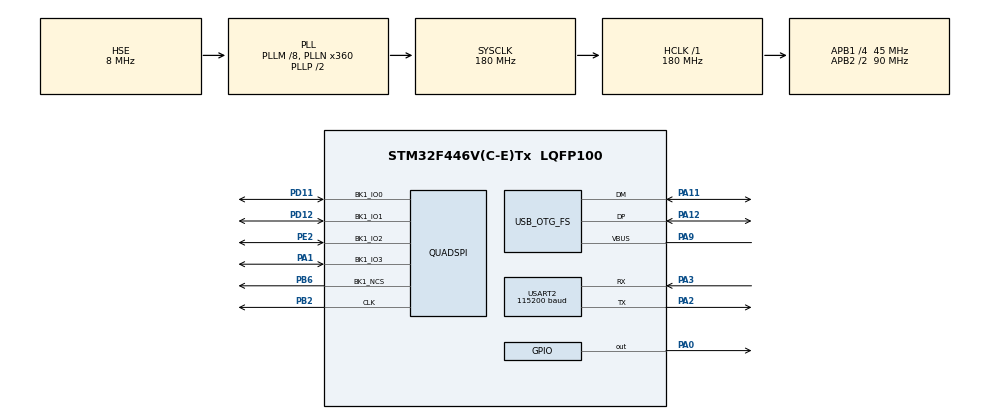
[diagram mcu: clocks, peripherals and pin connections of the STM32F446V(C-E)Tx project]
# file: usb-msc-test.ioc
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Dma.QUADSPI.0.Direction=DMA_PERIPH_TO_MEMORY
Dma.QUADSPI.0.FIFOMode=DMA_FIFOMODE_DISABLE
Dma.QUADSPI.0.Instance=DMA2_Stream7
Dma.QUADSPI.0.MemDataAlignment=DMA_MDATAALIGN_BYTE
Dma.QUADSPI.0.MemInc=DMA_MINC_ENABLE
Dma.QUADSPI.0.Mode=DMA_NORMAL
Dma.QUADSPI.0.PeriphDataAlignment=DMA_PDATAALIGN_BYTE
Dma.QUADSPI.0.PeriphInc=DMA_PINC_DISABLE
Dma.QUADSPI.0.Priority=DMA_PRIORITY_LOW
Dma.Request0=QUADSPI
Mcu.Family=STM32F4
Mcu.Name=STM32F446V(C-E)Tx
Mcu.Package=LQFP100
NVIC.DMA2_Stream7_IRQn=true\:6\:0\:true\:false\:true\:false\:true
NVIC.OTG_FS_IRQn=true\:7\:0\:true\:false\:true\:false\:true
NVIC.PriorityGroup=NVIC_PRIORITYGROUP_4
NVIC.QUADSPI_IRQn=true\:6\:0\:true\:false\:true\:true\:true
NVIC.TIM1_BRK_TIM9_IRQn=true\:6\:0\:true\:false\:true\:true\:true
NVIC.TIM1_CC_IRQn=true\:6\:0\:true\:false\:true\:true\:true
NVIC.TIM1_TRG_COM_TIM11_IRQn=true\:6\:0\:true\:false\:true\:true\:true
NVIC.TIM1_UP_TIM10_IRQn=true\:6\:0\:true\:false\:true\:true\:true
NVIC.TIM4_IRQn=true\:6\:0\:true\:false\:true\:true\:true
NVIC.TIM5_IRQn=true\:6\:0\:true\:false\:true\:true\:true
NVIC.TIM8_BRK_TIM12_IRQn=true\:6\:0\:true\:false\:true\:true\:true
NVIC.TIM8_CC_IRQn=true\:6\:0\:true\:false\:true\:true\:true
NVIC.TIM8_TRG_COM_TIM14_IRQn=true\:6\:0\:true\:false\:true\:true\:true
NVIC.TIM8_UP_TIM13_IRQn=true\:0\:0\:true\:false\:true\:false\:true
NVIC.TimeBase=TIM8_UP_TIM13_IRQn
NVIC.TimeBaseIP=TIM13
NVIC.USART2_IRQn=true\:5\:0\:true\:false\:true\:true\:true
PA0-WKUP.Signal=GPIO_Output
PA1.Mode=Single Bank 1
PA1.Signal=QUADSPI_BK1_IO3
PA11.Mode=Device_Only
PA11.Signal=USB_OTG_FS_DM
PA12.Mode=Device_Only
PA12.Signal=USB_OTG_FS_DP
PA13.Signal=SYS_JTMS-SWDIO
PA14.Signal=SYS_JTCK-SWCLK
PA2.Mode=Asynchronous
PA2.Signal=USART2_TX
PA3.Mode=Asynchronous
PA3.Signal=USART2_RX
PA9.Mode=Activate_VBUS
PA9.Signal=USB_OTG_FS_VBUS
PB2.Mode=Single Bank 1
PB2.Signal=QUADSPI_CLK
PB6.Mode=Single Bank 1
PB6.Signal=QUADSPI_BK1_NCS
PC14-OSC32_IN.Signal=RCC_OSC32_IN
PC15-OSC32_OUT.Signal=RCC_OSC32_OUT
PD11.Mode=Single Bank 1
PD11.Signal=QUADSPI_BK1_IO0
PD12.Mode=Single Bank 1
PD12.Signal=QUADSPI_BK1_IO1
PE2.Mode=Single Bank 1
PE2.Signal=QUADSPI_BK1_IO2
PH0-OSC_IN.Mode=HSE-External-Oscillator
PH0-OSC_IN.Signal=RCC_OSC_IN
PH1-OSC_OUT.Mode=HSE-External-Oscillator
PH1-OSC_OUT.Signal=RCC_OSC_OUT
ProjectManager.HeapSize=0x200
ProjectManager.StackSize=0x400
ProjectManager.TargetToolchain=SW4STM32
QUADSPI.ClockPrescaler=3
QUADSPI.FifoThreshold=1
QUADSPI.FlashSize=31
RCC.AHBFreq_Value=180000000
RCC.APB1CLKDivider=RCC_HCLK_DIV4
RCC.APB1Freq_Value=45000000
RCC.APB1TimFreq_Value=90000000
RCC.APB2CLKDivider=RCC_HCLK_DIV2
RCC.APB2Freq_Value=90000000
RCC.APB2TimFreq_Value=180000000
RCC.CortexFreq_Value=180000000
RCC.HCLKFreq_Value=180000000
RCC.HSE_VALUE=8000000
RCC.PLLM=8
RCC.PLLN=360
RCC.PLLQ=4
RCC.PLLSAIM=8
RCC.PLLSAIP=RCC_PLLSAIP_DIV4
RCC.PLLSourceVirtual=RCC_PLLSOURCE_HSE
RCC.SYSCLKFreq_VALUE=180000000
RCC.SYSCLKSource=RCC_SYSCLKSOURCE_PLLCLK
RCC.USBCLockSelection=RCC_CLK48CLKSOURCE_PLLSAIP
RCC.USBFreq_Value=48000000
RCC.VCOOutputFreq_Value=360000000
USART2.BaudRate=115200
USART2.VirtualMode=VM_ASYNC
USB_DEVICE.CLASS_NAME_FS=MSC
USB_DEVICE.VirtualMode-MSC_FS=Msc
USB_DEVICE.VirtualModeFS=Msc_FS
USB_OTG_FS.VirtualMode=Device_Only
VP_SYS_VS_tim13.Mode=TIM13
VP_TIM14_VS_ClockSourceINT.Mode=Enable_Timer
VP_TIM1_VS_ClockSourceINT.Mode=Internal
VP_TIM4_VS_ClockSourceINT.Mode=Internal
VP_TIM5_VS_ClockSourceINT.Mode=Internal
VP_TIM8_VS_ClockSourceINT.Mode=Internal
VP_USB_DEVICE_VS_USB_DEVICE_MSC_FS.Mode=MSC_FS
board=custom

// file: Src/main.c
/* USER CODE BEGIN Header */
/**
  ******************************************************************************
  * @file           : main.c
  * @brief          : Main program body
  ******************************************************************************
  * @attention
  *
  * <h2><center>&copy; Copyright (c) 2020 STMicroelectronics.
  * All rights reserved.</center></h2>
  *
  * This software component is licensed by ST under BSD 3-Clause license,
  * the "License"; You may not use this file except in compliance with the
  * License. You may obtain a copy of the License at:
  *                        opensource.org/licenses/BSD-3-Clause
  *
  ******************************************************************************
  */
/* USER CODE END Header */

#include "main.h"
#include "dma.h"
#include "quadspi.h"
#include "tim.h"
#include "usart.h"
#include "usb_device.h"
#include "gpio.h"

/* USER CODE BEGIN Includes */
#include "SS_init.h"
#include "SS_log.h"
#include "SS_console.h"
#include "SS_usb.h"
#include "SS_s25fl.h"
#include "SS_flash_caching.h"
#include "SS_flash_ctrl.h"
/* USER CODE END Includes */

/* USER CODE BEGIN PD */
#define CMD_SIZE 160
#define CMD_TOKEN_MAX 5
/* USER CODE END PD */

/* USER CODE BEGIN PV */
extern QSPI_HandleTypeDef hqspi;
/* USER CODE END PV */

void SystemClock_Config(void);

int main(void)
{

  /* MCU Configuration--------------------------------------------------------*/

  /* Reset of all peripherals, Initializes the Flash interface and the Systick. */
  HAL_Init();

  /* Configure the system clock */
  SystemClock_Config();

  /* Initialize all configured peripherals */
  MX_GPIO_Init();
  MX_DMA_Init();
  MX_QUADSPI_Init();
  MX_USART2_UART_Init();
  MX_USB_DEVICE_Init();
  MX_TIM14_Init();
  MX_TIM8_Init();
  MX_TIM1_Init();
  MX_TIM4_Init();
  MX_TIM5_Init();
  /* USER CODE BEGIN 2 */
    //SS_s25fl_init();
    SS_log_init(&huart2);
    SS_console_init(&huart2);
    assert(SS_s25fl_init(GPIOA, GPIO_PIN_0, 256*256*1024, 256*1024, 512, true, 4, 1) == S25FL_STATUS_OK);
    assert(SS_flash_init(&hqspi, GPIOA, GPIO_PIN_0) == FLASH_STATUS_OK);
    assert(SS_usb_init() == USB_STATUS_OK);
    SS_init();
  /* USER CODE END 2 */

  /* Infinite loop */
  /* USER CODE BEGIN WHILE */
//#ifdef TEST
  //test_s25fl();
//#endif

  //uint8_t cmd[CMD_SIZE];
  //uint32_t cmd_len = 0;
  while (1)
  {
    /* USER CODE END WHILE */

    /* USER CODE BEGIN 3 */
	/*HAL_GPIO_WritePin(GPIOD, GPIO_PIN_0, GPIO_PIN_SET);

	uint8_t c;
	if (HAL_UART_Receive(&huart2, &c, 1, 1) == HAL_OK) {
		HAL_UART_Transmit(&huart2, &c, 1, 1);
		if (c == '\r') {
			c = '\n';
			HAL_UART_Transmit(&huart2, &c, 1, 1);

			cmd[cmd_len] = '\0';

			uint32_t addr;
			uint16_t rems, var;
			uint8_t msg[CMD_SIZE];
			S25flStatus status;
			if (sscanf((char *)cmd, "%s", (char *)msg) == 1 && strncmp((char *)msg, "debug", CMD_SIZE) == 0) {
				uint8_t status_reg1, status_reg2, config_reg;
				status = SS_s25fl_debug_read_regs(&status_reg1, &status_reg2, &config_reg);

				snprintf((char *)msg, CMD_SIZE, "Read regs: status reg1 == 0x%X, status reg2 == 0x%X, config reg = 0x%X; with result %d.\r\n", status_reg1, status_reg2, config_reg, status);
				HAL_UART_Transmit(&huart2, msg, strlen((char *)msg), 10);
			} else if (sscanf((char *)cmd, "%s", (char *)msg) == 1 && strncmp((char *)msg, "read_rems_id", CMD_SIZE) == 0) {
				status = SS_s25fl_read_rems_id(&rems);

				snprintf((char *)msg, CMD_SIZE, "Read REMS ID 0x%X with result %d.\r\n", rems, status);
				HAL_UART_Transmit(&huart2, msg, strlen((char *)msg), 10);
			} else if (sscanf((char *)cmd, "%s", (char *)msg) == 1 && strncmp((char *)msg, "erase_all", CMD_SIZE) == 0) {
				status = SS_s25fl_erase_all();

				snprintf((char *)msg, CMD_SIZE, "Erase all with result %d.\r\n", status);
				HAL_UART_Transmit(&huart2, msg, strlen((char *)msg), 10);
		    } else if (sscanf((char *)cmd, "erase 0x%x", (unsigned int *)&addr) == 1) {
				status = SS_s25fl_erase_sector(addr);

				snprintf((char *)msg, CMD_SIZE, "Erased sector on address 0x%X with result %d.\r\n", (unsigned int)addr, status);
				HAL_UART_Transmit(&huart2, msg, strlen((char *)msg), 10);
			} else if (sscanf((char *)cmd, "write 0x%x %c", (unsigned int *)&addr, (char *)&c) == 2) {
				status = SS_s25fl_write_bytes(addr, &c, 1);

				snprintf((char *)msg, CMD_SIZE, "Write 0x%X to address 0x%X with result %d.\r\n", (char)c, (unsigned int)addr, status);
				HAL_UART_Transmit(&huart2, msg, strlen((char *)msg), 10);
			} else if (sscanf((char *)cmd, "read 0x%x", (unsigned int *)&addr) == 1) {
				status = SS_s25fl_read_bytes(addr, &c, 1);

				snprintf((char *)msg, CMD_SIZE, "Read 0x%X from address 0x%X with result %d.\r\n", (char)c, (unsigned int)addr, status);
				HAL_UART_Transmit(&huart2, msg, strlen((char *)msg), 10);
			} else if (sscanf((char *)cmd, "write_dma 0x%x %c", (unsigned int *)&addr, (char *)&c) == 2) {
				status = SS_s25fl_write_bytes_dma(addr, &c, 1);
				HAL_Delay(1);

				snprintf((char *)msg, CMD_SIZE, "DMA write 0x%X to address 0x%X with result %d.\r\n", (char)c, (unsigned int)addr, status);
				HAL_UART_Transmit(&huart2, msg, strlen((char *)msg), 10);
			} else if (sscanf((char *)cmd, "read_dma 0x%x", (unsigned int *)&addr) == 1) {
				status = SS_s25fl_read_bytes_dma(addr, &c, 1);
				HAL_Delay(1);

				snprintf((char *)msg, CMD_SIZE, "DMA read 0x%X from address 0x%X with result %d.\r\n", (char)c, (unsigned int)addr, status);
				HAL_UART_Transmit(&huart2, msg, strlen((char *)msg), 10);
			} else if (sscanf((char *)cmd, "%s", (char *)msg) == 1 && strncmp((char *)msg, "start_log", CMD_SIZE) == 0) {
				status = SS_flash_ctrl_start_logging();

				snprintf((char *)msg, CMD_SIZE, "Start logging with result %d.\r\n", status);
				HAL_UART_Transmit(&huart2, msg, strlen((char *)msg), 10);
			} else if (sscanf((char *)cmd, "%s", (char *)msg) == 1 && strncmp((char *)msg, "stop_log", CMD_SIZE) == 0) {
				status = SS_flash_ctrl_stop_logging();

				snprintf((char *)msg, CMD_SIZE, "Stop logging with result %d.\r\n", status);
				HAL_UART_Transmit(&huart2, msg, strlen((char *)msg), 10);
			} else if (sscanf((char *)cmd, "log 0x%X", (unsigned int *)&var) == 1) {
				//status = SS_flash_ctrl_log_var(FLASH_STREAM_VAR, 3, &var, 4);
				//status = SS_flash_ctrl_log_var_u32(3, var);

				snprintf((char *)msg, CMD_SIZE, "Log with result %d.\r\n", status);
				HAL_UART_Transmit(&huart2, msg, strlen((char *)msg), 10);
			} else if (sscanf((char *)cmd, "%s", (char *)msg) == 1 && strncmp((char *)msg, "test", CMD_SIZE) == 0) {
//#ifdef TEST
				//test();
//#endif
			} else {
				strncpy((char *)msg, "Unknown command.\r\n" __DATE__ __TIME__ "\r\n", CMD_SIZE);
				HAL_UART_Transmit(&huart2, msg, strlen((char *)msg), 10);
			}

			cmd_len = 0;
		} else if (cmd_len+1 < CMD_SIZE) {
			cmd[cmd_len] = c;
			++cmd_len;
		} else {
			uint8_t msg[] = "The command is too long.\r\n";
			HAL_UART_Transmit(&huart2, msg, strlen((char *)msg), 100);
			cmd_len = 0;
		}
	}*/
  }
  /* USER CODE END 3 */
}

void SystemClock_Config(void)
{
  RCC_OscInitTypeDef RCC_OscInitStruct = {0};
  RCC_ClkInitTypeDef RCC_ClkInitStruct = {0};
  RCC_PeriphCLKInitTypeDef PeriphClkInitStruct = {0};

  /** Configure the main internal regulator output voltage
  */
  __HAL_RCC_PWR_CLK_ENABLE();
  __HAL_PWR_VOLTAGESCALING_CONFIG(PWR_REGULATOR_VOLTAGE_SCALE1);
  /** Initializes the CPU, AHB and APB busses clocks
  */
  RCC_OscInitStruct.OscillatorType = RCC_OSCILLATORTYPE_HSE;
  RCC_OscInitStruct.HSEState = RCC_HSE_ON;
  RCC_OscInitStruct.PLL.PLLState = RCC_PLL_ON;
  RCC_OscInitStruct.PLL.PLLSource = RCC_PLLSOURCE_HSE;
  RCC_OscInitStruct.PLL.PLLM = 8;
  RCC_OscInitStruct.PLL.PLLN = 360;
  RCC_OscInitStruct.PLL.PLLP = RCC_PLLP_DIV2;
  RCC_OscInitStruct.PLL.PLLQ = 4;
  RCC_OscInitStruct.PLL.PLLR = 2;
  if (HAL_RCC_OscConfig(&RCC_OscInitStruct) != HAL_OK)
  {
    Error_Handler();
  }
  /** Activate the Over-Drive mode
  */
  if (HAL_PWREx_EnableOverDrive() != HAL_OK)
  {
    Error_Handler();
  }
  /** Initializes the CPU, AHB and APB busses clocks
  */
  RCC_ClkInitStruct.ClockType = RCC_CLOCKTYPE_HCLK|RCC_CLOCKTYPE_SYSCLK
                              |RCC_CLOCKTYPE_PCLK1|RCC_CLOCKTYPE_PCLK2;
  RCC_ClkInitStruct.SYSCLKSource = RCC_SYSCLKSOURCE_PLLCLK;
  RCC_ClkInitStruct.AHBCLKDivider = RCC_SYSCLK_DIV1;
  RCC_ClkInitStruct.APB1CLKDivider = RCC_HCLK_DIV4;
  RCC_ClkInitStruct.APB2CLKDivider = RCC_HCLK_DIV2;

  if (HAL_RCC_ClockConfig(&RCC_ClkInitStruct, FLASH_LATENCY_5) != HAL_OK)
  {
    Error_Handler();
  }
  PeriphClkInitStruct.PeriphClockSelection = RCC_PERIPHCLK_CLK48;
  PeriphClkInitStruct.PLLSAI.PLLSAIM = 8;
  PeriphClkInitStruct.PLLSAI.PLLSAIN = 192;
  PeriphClkInitStruct.PLLSAI.PLLSAIQ = 2;
  PeriphClkInitStruct.PLLSAI.PLLSAIP = RCC_PLLSAIP_DIV4;
  PeriphClkInitStruct.PLLSAIDivQ = 1;
  PeriphClkInitStruct.Clk48ClockSelection = RCC_CLK48CLKSOURCE_PLLSAIP;
  if (HAL_RCCEx_PeriphCLKConfig(&PeriphClkInitStruct) != HAL_OK)
  {
    Error_Handler();
  }
}

/* USER CODE BEGIN 4 */

/*void HAL_QSPI_CmdCpltCallback(QSPI_HandleTypeDef *hqspi)
{
    SS_S25fl_qspi_cmdcplt_handler(hqspi);
}

void HAL_QSPI_TxCpltCallback(QSPI_HandleTypeDef *hqspi)
{
	SS_s25fl_qspi_txcplt_handler(hqspi);
}

void HAL_QSPI_RxCpltCallback(QSPI_HandleTypeDef *hqspi)
{
	SS_s25fl_qspi_rxcplt_handler(hqspi);
	SS_flash_caching_qspi_rxcplt_handler(hqspi);
}*/

/*int __io_putchar(int ch)
{
	if (ch == '\n') {
		uint8_t cr = '\r';
		if (HAL_UART_Transmit(&huart2, (uint8_t *)&cr, 1, 1000) != HAL_OK) {
			return EOF;
		}
	}

	if (HAL_UART_Transmit(&huart2, (uint8_t *)&ch, 1, 1000) != HAL_OK) {
		return EOF;
	}
	return ch;
}*/
/* USER CODE END 4 */

 /**
  * @brief  Period elapsed callback in non blocking mode
  * @note   This function is called  when TIM13 interrupt took place, inside
  * HAL_TIM_IRQHandler(). It makes a direct call to HAL_IncTick() to increment
  * a global variable "uwTick" used as application time base.
  * @param  htim : TIM handle
  * @retval None
  */
void HAL_TIM_PeriodElapsedCallback(TIM_HandleTypeDef *htim)
{
  if (htim->Instance == TIM13) {
    HAL_IncTick();
  }
}

void Error_Handler(void)
{
  while (1) {
  }
}

/************************ (C) COPYRIGHT STMicroelectronics *****END OF FILE****/
